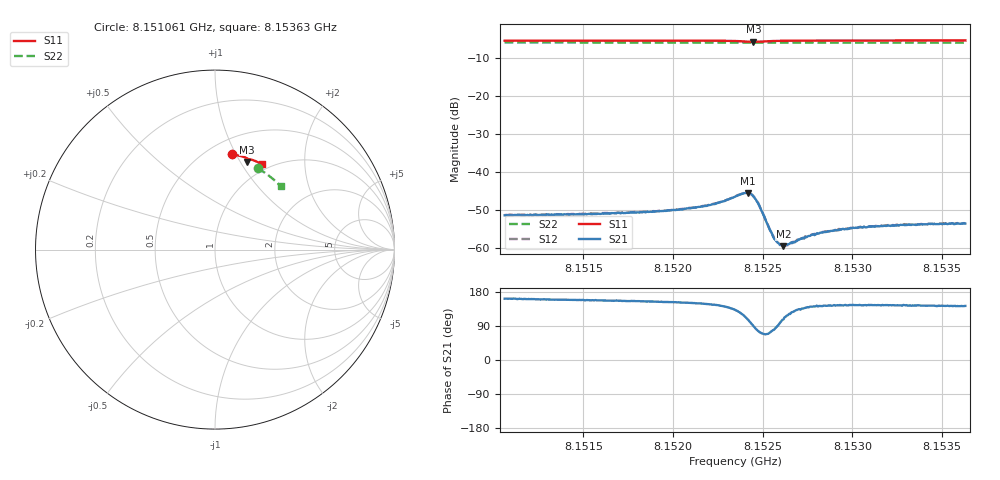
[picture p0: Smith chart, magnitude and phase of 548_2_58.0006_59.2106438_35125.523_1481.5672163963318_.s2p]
#  HZ  S  RI  R  50.00
! Rohde & Schwarz Vector Network Analyzer
! Rohde-Schwarz,ZNB20-2Port,1311601062101988,3.16
! Created: UTC 3/21/2024, 1:14:53 AM
! freq[Hz]  re:S11  im:S11  re:S21  im:S21  re:S12  im:S12  re:S22  im:S22
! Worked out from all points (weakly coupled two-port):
!   401 points, 8.151061 GHz to 8.15363 GHz, reference 50 ohm
!   highest |S21| = -45.47 dB at 8.152416 GHz (marker M1); lowest = -59.5 dB at 8.152615 GHz (marker M2)
!   lowest |S11| = -5.7 dB at 8.152448 GHz (marker M3), VSWR 3.18, Z = 40 + j53.6 ohm
!   |S11| at or under -10 dB: nowhere
!   |S22| runs from -5.9 to -5.8 dB; largest |S21 - S12| = 0.00013
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8.1510607e9  0.0947 0.5309  -0.00256 0.000846  -0.00258 0.00087  0.2375 0.4528
8.1514911e9  0.1247 0.5254  -0.00258 0.00103  -0.00261 0.00109  0.2612 0.4389
8.1519215e9  0.1546 0.5179  -0.00274 0.00136  -0.00276 0.00141  0.2843 0.4237
8.1520693e9  0.1655 0.5144  -0.00289 0.00159  -0.00286 0.00162  0.2918 0.4181
8.1521978e9  0.1753 0.5103  -0.0031 0.00199  -0.00309 0.00203  0.2986 0.4133
8.1522941e9  0.1834 0.5053  -0.00326 0.0027  -0.00324 0.00277  0.3034 0.4093
8.1523455e9  0.1872 0.5004  -0.00321 0.00351  -0.00322 0.0036  0.3058 0.4071
8.1523905e9  0.1881 0.4937  -0.00256 0.00458  -0.00251 0.00465  0.3082 0.405
8.1524162e9  0.1858 0.49  -0.00157 0.00509  -0.00152 0.00512  0.3092 0.4042
8.1524355e9  0.1824 0.4884  -0.000616 0.0051  -0.00055 0.00512  0.31 0.4034
8.1524483e9  0.1799 0.4889  7.21e-05 0.00478  0.00011 0.00484  0.3105 0.403
8.1524804e9  0.1762 0.4936  0.000994 0.00349  0.00103 0.00352  0.312 0.4019
8.1525575e9  0.1824 0.5025  0.000277 0.00139  0.000356 0.00142  0.3159 0.3993
8.1525704e9  0.184 0.5031  0.000138 0.00129  0.000182 0.00127  0.3165 0.3987
8.1525896e9  0.1861 0.5035  -8.03e-05 0.00115  -5.75e-05 0.00114  0.3176 0.3979
8.1526153e9  0.189 0.5036  -0.000313 0.00101  -0.000317 0.00106  0.3187 0.3969
8.152641e9  0.1915 0.5035  -0.000537 0.000986  -0.000514 0.000968  0.3202 0.3958
8.152776e9  0.2032 0.5011  -0.00116 0.000952  -0.00118 0.000946  0.3268 0.3902
8.1528338e9  0.2076 0.4999  -0.00128 0.000986  -0.0013 0.000991  0.3296 0.3877
8.152943e9  0.2154 0.497  -0.00145 0.00104  -0.00146 0.00103  0.3348 0.383
8.1532064e9  0.2331 0.4897  -0.00161 0.00114  -0.00162 0.00118  0.347 0.3716
8.1536304e9  0.26 0.4768  -0.00167 0.00128  -0.00165 0.00131  0.3656 0.3523
